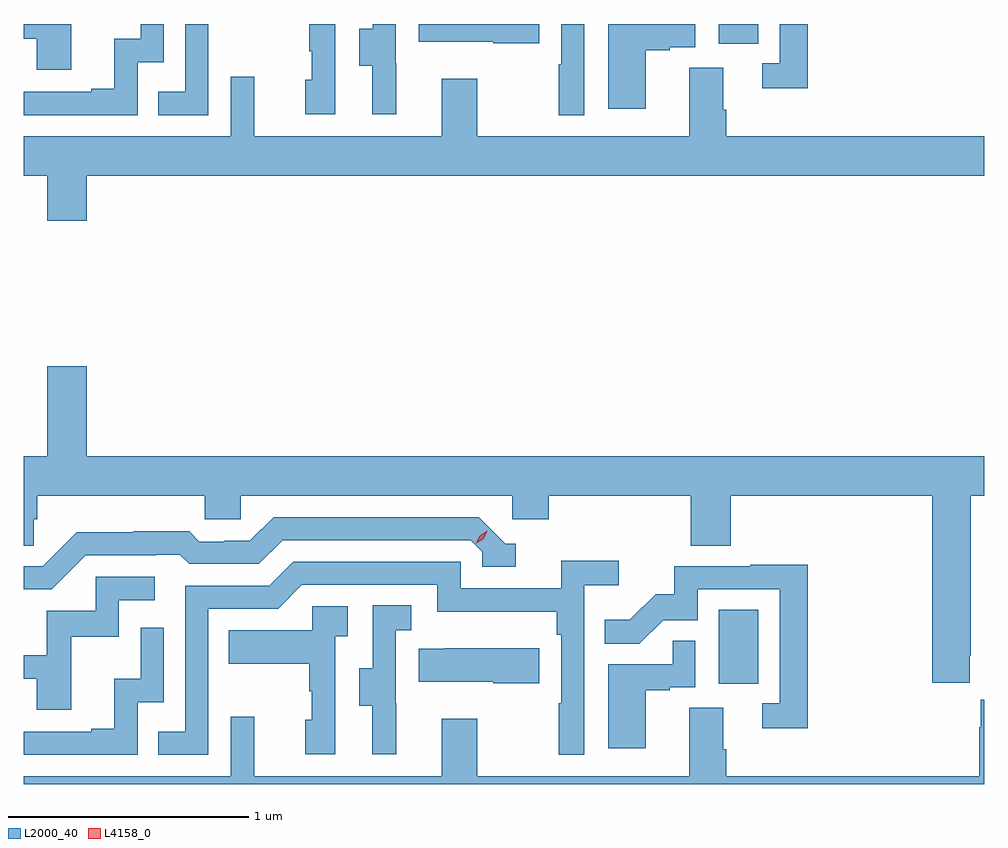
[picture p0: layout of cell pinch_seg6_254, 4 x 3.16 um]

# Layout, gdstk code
import gdstk
lib = gdstk.Library(unit=1e-6, precision=1e-09)
def R(c, l, rs):  # rectangles x0, y0, x1, y1
    for r in rs: c.add(gdstk.rectangle(r[:2], r[2:], *l))
def P(c, l, *ps):  # polygons
    for p in ps: c.add(gdstk.Polygon(p, *l))
L2000_40 = (2000, 40)
L4158_0 = (4158, 0)

pinch_seg6_254 = lib.new_cell('pinch_seg6_254')
R(pinch_seg6_254, L2000_40, [(1102.868,915.918,1103.032,916.225), (1102.868,918.582,1103.032,918.664)])
P(pinch_seg6_254, L2000_40, [(1100.171,918.664),(1099.973,918.664),(1099.973,918.603),(1100.027,918.603),(1100.027,918.474),(1100.171,918.474)],
  [(1103.237,918.664),(1103.121,918.664),(1103.121,918.501),(1103.049,918.501),(1103.049,918.396),(1103.237,918.396)],
  [(1102.12,918.664),(1101.619,918.664),(1101.619,918.59),(1101.929,918.59),(1101.929,918.583),(1102.12,918.583)],
  [(1102.564,918.555),(1102.664,918.555),(1102.664,918.567),(1102.77,918.567),(1102.77,918.664),(1102.675,918.664),(1102.675,918.663),(1102.406,918.663),(1102.406,918.312),(1102.564,918.312)],
  [(1102.308,918.664),(1102.212,918.664),(1102.212,918.497),(1102.2,918.497),(1102.2,918.285),(1102.308,918.285)],
  [(1100.742,918.664),(1100.646,918.664),(1100.646,918.381),(1100.533,918.381),(1100.533,918.285),(1100.742,918.285)],
  [(1101.27,918.664),(1101.162,918.664),(1101.162,918.551),(1101.172,918.551),(1101.172,918.432),(1101.146,918.432),(1101.146,918.288),(1101.27,918.288)],
  [(1101.524,918.501),(1101.522,918.501),(1101.522,918.664),(1101.426,918.664),(1101.426,918.645),(1101.371,918.645),(1101.371,918.49),(1101.425,918.49),(1101.425,918.288),(1101.524,918.288)],
  [(1100.448,918.504),(1100.556,918.504),(1100.556,918.664),(1100.46,918.664),(1100.46,918.602),(1100.351,918.602),(1100.351,918.394),(1100.255,918.394),(1100.255,918.381),(1099.973,918.381),(1099.973,918.285),(1100.448,918.285)],
  [(1100.236,918.032),(1103.973,918.032),(1103.973,918.196),(1102.898,918.196),(1102.898,918.308),(1102.885,918.308),(1102.885,918.482),(1102.745,918.482),(1102.745,918.196),(1101.861,918.196),(1101.861,918.436),(1101.713,918.436),(1101.713,918.196),(1100.933,918.196),(1100.933,918.445),(1100.835,918.445),(1100.835,918.196),(1099.973,918.196),(1099.973,918.032),(1100.072,918.032),(1100.072,917.844),(1100.236,917.844)],
  [(1103.911,916.033),(1103.916,916.033),(1103.916,916.7),(1103.973,916.7),(1103.973,916.864),(1100.236,916.864),(1100.236,917.239),(1100.072,917.239),(1100.072,916.864),(1099.973,916.864),(1099.973,916.492),(1100.015,916.492),(1100.015,916.602),(1100.03,916.602),(1100.03,916.7),(1100.727,916.7),(1100.727,916.602),(1100.877,916.602),(1100.877,916.7),(1102.008,916.7),(1102.008,916.602),(1102.16,916.602),(1102.16,916.7),(1102.751,916.7),(1102.751,916.492),(1102.916,916.492),(1102.916,916.7),(1103.756,916.7),(1103.756,915.921),(1103.911,915.921)],
  [(1100.232,916.452),(1100.525,916.452),(1100.525,916.455),(1100.624,916.455),(1100.663,916.416),(1100.952,916.416),(1101.051,916.515),(1101.834,916.515),(1101.882,916.467),(1101.882,916.404),(1102.021,916.404),(1102.021,916.5),(1101.978,916.5),(1101.867,916.611),(1101.014,916.611),(1100.915,916.512),(1100.808,916.512),(1100.808,916.509),(1100.705,916.509),(1100.663,916.552),(1100.43,916.552),(1100.43,916.549),(1100.194,916.549),(1100.052,916.407),(1099.973,916.407),(1099.973,916.311),(1100.091,916.311)],
  [(1100.742,916.23),(1101.033,916.23),(1101.132,916.329),(1101.696,916.329),(1101.696,916.217),(1102.192,916.217),(1102.192,916.121),(1102.212,916.121),(1102.212,915.836),(1102.2,915.836),(1102.2,915.621),(1102.308,915.621),(1102.308,916.328),(1102.45,916.328),(1102.45,916.43),(1102.211,916.43),(1102.211,916.314),(1101.792,916.314),(1101.792,916.425),(1101.095,916.425),(1100.996,916.326),(1100.646,916.326),(1100.646,915.717),(1100.533,915.717),(1100.533,915.621),(1100.742,915.621)],
  [(1103.237,916.412),(1102.999,916.412),(1102.999,916.407),(1102.681,916.407),(1102.681,916.29),(1102.604,916.29),(1102.497,916.183),(1102.393,916.183),(1102.393,916.084),(1102.537,916.084),(1102.635,916.182),(1102.779,916.182),(1102.779,916.311),(1103.121,916.311),(1103.121,915.837),(1103.049,915.837),(1103.049,915.732),(1103.237,915.732)],
  [(1100.171,916.113),(1100.37,916.113),(1100.37,916.266),(1100.518,916.266),(1100.518,916.362),(1100.274,916.362),(1100.274,916.221),(1100.069,916.221),(1100.069,916.035),(1099.973,916.035),(1099.973,915.939),(1100.027,915.939),(1100.027,915.81),(1100.171,915.81)],
  [(1101.524,915.837),(1101.522,915.837),(1101.522,916.141),(1101.586,916.141),(1101.586,916.244),(1101.426,916.244),(1101.426,915.981),(1101.371,915.981),(1101.371,915.826),(1101.425,915.826),(1101.425,915.624),(1101.524,915.624)],
  [(1101.27,916.115),(1101.322,916.115),(1101.322,916.239),(1101.174,916.239),(1101.174,916.141),(1100.827,916.141),(1100.827,916.001),(1101.162,916.001),(1101.162,915.887),(1101.172,915.887),(1101.172,915.768),(1101.146,915.768),(1101.146,915.624),(1101.27,915.624)],
  [(1100.448,915.84),(1100.556,915.84),(1100.556,916.15),(1100.46,916.15),(1100.46,915.938),(1100.351,915.938),(1100.351,915.73),(1100.255,915.73),(1100.255,915.717),(1099.973,915.717),(1099.973,915.621),(1100.448,915.621)],
  [(1102.564,915.891),(1102.664,915.891),(1102.664,915.903),(1102.77,915.903),(1102.77,916.097),(1102.675,916.097),(1102.675,915.999),(1102.406,915.999),(1102.406,915.648),(1102.564,915.648)],
  [(1102.12,916.066),(1101.727,916.066),(1101.727,916.063),(1101.619,916.063),(1101.619,915.926),(1101.929,915.926),(1101.929,915.919),(1102.12,915.919)],
  [(1100.933,915.781),(1100.835,915.781),(1100.835,915.532),(1099.973,915.532),(1099.973,915.5),(1103.973,915.5),(1103.973,915.85),(1103.957,915.85),(1103.957,915.737),(1103.951,915.737),(1103.951,915.532),(1102.898,915.532),(1102.898,915.644),(1102.885,915.644),(1102.885,915.818),(1102.745,915.818),(1102.745,915.532),(1101.861,915.532),(1101.861,915.772),(1101.713,915.772),(1101.713,915.532),(1100.933,915.532)])
P(pinch_seg6_254, L4158_0, [(1101.858,916.502),(1101.858,916.502),(1101.873,916.534),(1101.904,916.554),(1101.904,916.554),(1101.904,916.554),(1101.888,916.521),(1101.858,916.502)])

lib.write_gds('pinch_seg6_254.gds')
